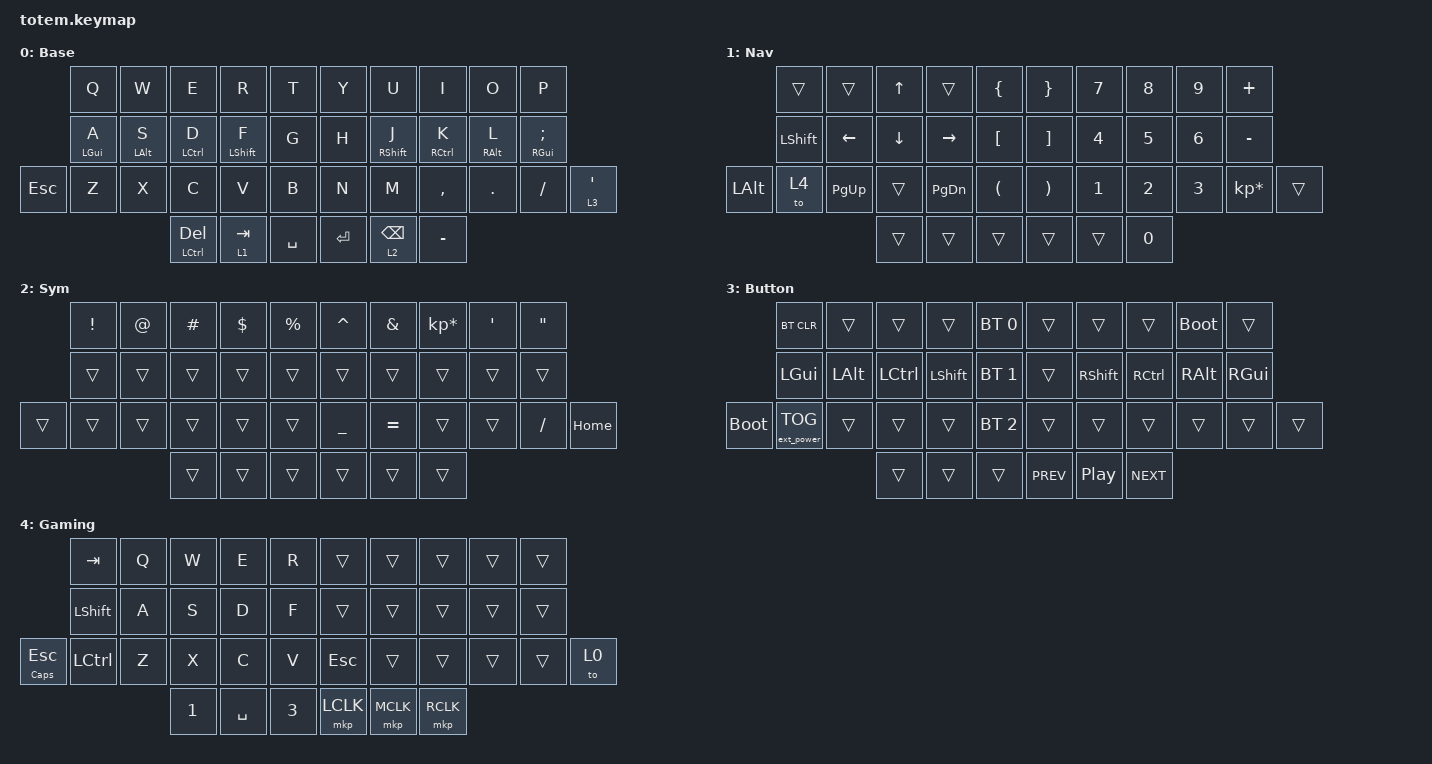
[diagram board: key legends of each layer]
//
//                                                        ▀▀▀▀▀     ▀▀▀▀▀          ▀▀█▀▀
//                                                        ▄▀▀▀▄  ▄  ▄▀▀▀▄  ▄  ▄▀▀▀▄  █  ▄▀▀▀▄
//                                                        █   █  █  █   █  █  █   █  █  █   █
//                                                         ▀▀▀   █   ▀▀▀   █   ▀▀▀   ▀   ▀▀▀
//                                                               █      ▄▄▄█▄▄▄    █   █  
//                                                               ▀      █  █  █     █▄█
//                                                             ▀▀▀▀▀    █  █  █      ▀
//                                                                      ▀  ▀  ▀
//
// ▄▄▄▄▄▄▄▄▄▄▄▄▄▄▄▄▄▄▄▄▄▄▄▄▄▄▄▄▄▄▄▄▄▄▄▄▄▄▄▄▄▄▄▄▄▄▄▄▄▄▄▄▄▄▄▄▄▄▄▄▄▄▄▄▄▄▄▄▄▄▄▄▄▄▄▄▄▄▄▄▄▄▄▄▄▄▄▄▄▄▄▄▄▄▄▄▄▄▄▄▄▄▄▄▄▄▄▄▄▄▄▄▄▄▄▄▄▄▄▄▄▄▄▄▄▄▄▄▄▄▄▄▄▄▄▄▄▄▄▄▄▄▄▄▄▄▄▄▄

#include <behaviors.dtsi>
#include <dt-bindings/zmk/bt.h>
#include <dt-bindings/zmk/ext_power.h>
#include <dt-bindings/zmk/keys.h>
#include <dt-bindings/zmk/pointing.h>

#define Base        0
#define Media       1
#define Nav         2
#define Mouse       3
#define Sym         4
#define Num         5
#define Fun         6
#define Button      7
#define Game        8
#define Gameplus    9

&mt {
    quick-tap-ms = <100>;
    global-quick-tap;
    flavor = "tap-preferred";
    tapping-term-ms = <170>;
};

&lt {
    tapping-term-ms = <240>;
    flavor = "balanced";
    quick-tap-ms = <150>;
};

/ {
    behaviors {
        hm: homerow_mods {
            compatible = "zmk,behavior-hold-tap";
            label = "HOMEROW_MODS";
            #binding-cells = <2>;
            flavor = "tap-preferred";
            tapping-term-ms = <200>;
            quick-tap-ms = <125>;
            global-quick-tap;
            bindings = <&kp>, <&kp>;
        };
    };

    combos { compatible = "zmk,combos"; };

    keymap {
        compatible = "zmk,keymap";

        Base {
            label = "Base";
            bindings = <
         &kp Q       &kp W       &kp E          &kp R         &kp T        &kp Y    &kp U        &kp I        &kp O       &kp P
         &hm LGUI A  &hm LALT S  &hm LCTRL D    &hm LSHIFT F  &kp G        &kp H    &hm RSHFT J  &hm RCTRL K  &hm RALT L  &hm RGUI SEMICOLON
&kp ESC  &kp Z       &kp X       &kp C          &kp V         &kp B        &kp N    &kp M        &kp COMMA    &kp DOT     &kp SLASH           &lt 3 APOSTROPHE
                                 &mt LCTRL DEL  &lt 1 TAB     &kp SPACE    &kp RET  &lt 2 BSPC   &kp MINUS
            >;
        };

        Nav {
            label = "Nav";
            bindings = <
              &trans          &trans       &kp UP_ARROW  &trans     &kp LBRC    &kp RBRC  &kp NUMBER_7  &kp NUMBER_8  &kp NUMBER_9  &kp PLUS
              &kp LEFT_SHIFT  &kp LEFT     &kp DOWN      &kp RIGHT  &kp LBKT    &kp RBKT  &kp NUMBER_4  &kp NUMBER_5  &kp NUMBER_6  &kp MINUS
&kp LEFT_ALT  &to 4           &kp PAGE_UP  &trans        &kp PG_DN  &kp LPAR    &kp RPAR  &kp NUMBER_1  &kp NUMBER_2  &kp NUMBER_3  &kp KP_MULTIPLY  &trans
                                           &trans        &trans     &trans      &trans    &trans        &kp NUMBER_0
            >;
        };

        Sym {
            label = "Sym";
            bindings = <
        &kp EXCL  &kp AT  &kp HASH  &kp DOLLAR  &kp PERCENT    &kp CARET  &kp AMPERSAND  &kp KP_ASTERISK  &kp SQT  &kp DQT
        &trans    &trans  &trans    &trans      &trans         &trans     &trans         &trans           &trans   &trans
&trans  &trans    &trans  &trans    &trans      &trans         &kp UNDER  &kp EQUAL      &trans           &trans   &kp SLASH  &kp HOME
                          &trans    &trans      &trans         &trans     &trans         &trans
            >;
        };

        Button {
            label = "Button";
            bindings = <
             &bt BT_CLR         &trans    &trans     &trans      &bt BT_SEL 0    &trans      &trans            &trans      &bootloader  &trans
             &kp LGUI           &kp LALT  &kp LCTRL  &kp LSHIFT  &bt BT_SEL 1    &trans      &kp RSHIFT        &kp RCTRL   &kp RALT     &kp RGUI
&bootloader  &ext_power EP_TOG  &trans    &trans     &trans      &bt BT_SEL 2    &trans      &trans            &trans      &trans       &trans    &trans
                                          &trans     &trans      &trans          &kp C_PREV  &kp C_PLAY_PAUSE  &kp C_NEXT
            >;
        };

        Gaming {
            bindings = <
                     &kp TAB           &kp Q  &kp W         &kp E      &kp R           &trans      &trans     &trans     &trans  &trans
                     &kp LEFT_SHIFT    &kp A  &kp S         &kp D      &kp F           &trans      &trans     &trans     &trans  &trans
&mt CAPSLOCK ESCAPE  &kp LEFT_CONTROL  &kp Z  &kp X         &kp C      &kp V           &kp ESCAPE  &trans     &trans     &trans  &trans  &to 0
                                              &kp NUMBER_1  &kp SPACE  &kp NUMBER_3    &mkp LCLK   &mkp MCLK  &mkp RCLK
            >;

            label = "Gaming";
        };
    };
};
